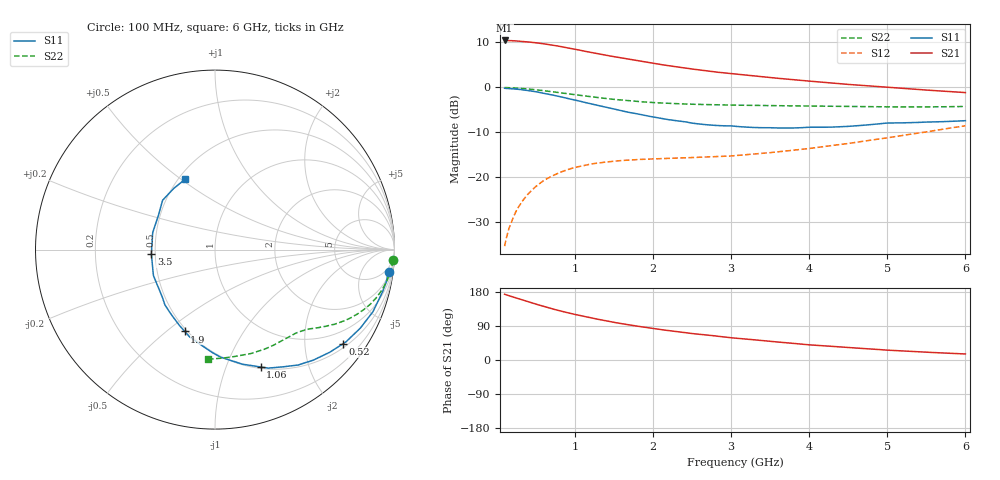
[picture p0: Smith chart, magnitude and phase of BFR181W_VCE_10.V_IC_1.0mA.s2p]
! Infineon Technologies  Discrete & RF Semiconductors
! BFR181W
! VCE =  10. V,  IC =  1.0 mA
! Common Emitter S-Parameters:  Nov 2015
# GHz  S  MA  R  50
!  f  S11  S21  S12  S22
! GHz  MAG  ANG  MAG  ANG  MAG  ANG  MAG  ANG
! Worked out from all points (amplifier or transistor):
!   192 points, 100 MHz to 6 GHz, reference 50 ohm
!   highest |S21| = 10.4 dB at 100 MHz (marker M1)
!   |S21| within 3 dB of that: start of sweep to 1.307 GHz
!   unconditionally stable (mu >= 1): 2.795 GHz to 3.979 GHz
!   at 440 MHz: K = 0.19, MSG = 16.5 dB, |S12| = -23.0 dB
!   at 1.7 GHz: K = 0.70, MSG = 11.2 dB, |S12| = -16.2 dB
!   at 6 GHz: K = 0.79, MSG = 3.7 dB, |S12| = -8.6 dB
!   S11 on the Smith chart (normalised r, x): 100 MHz: 3, -15; 520 MHz: 0.61, -2.93; 1.06 GHz: 0.52, -1.33; 1.9 GHz: 0.49, -0.58; 3.5 GHz: 0.48, -0.03; 6 GHz: 0.54, +0.52
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0.1  0.9747 -7.3  3.31 173.5  0.0172 84.7  0.9935 -3.5
0.155  0.9696 -11.2  3.298 169.7  0.0269 82.1  0.9897 -5.5
0.26  0.9507 -18.6  3.265 162.9  0.044 77.9  0.9785 -9.0
0.4  0.9203 -28.4  3.192 153.7  0.0652 72.2  0.9571 -13.6
0.52  0.8849 -36.4  3.103 146.3  0.0817 67.3  0.9338 -17.1
0.6  0.8579 -41.8  3.042 141.5  0.092 64.4  0.9169 -19.4
0.7  0.8249 -48.2  2.949 135.6  0.1028 61.1  0.8942 -21.9
0.8  0.7928 -54.2  2.855 130.1  0.1126 58.0  0.8714 -24.3
1  0.7238 -65.8  2.651 120.3  0.1287 52.6  0.8275 -28.4
1.06  0.7014 -68.8  2.582 117.7  0.1322 51.2  0.8149 -29.4
1.1  0.6876 -70.8  2.539 115.9  0.1345 50.3  0.8066 -30.1
1.22  0.6506 -77.4  2.424 110.4  0.1412 47.8  0.7827 -32.2
1.5  0.5732 -91.6  2.188 99.3  0.1509 43.5  0.7339 -36.0
1.66  0.533 -99.2  2.067 93.8  0.1548 42.2  0.7132 -37.7
1.9  0.4862 -110.3  1.908 86.2  0.1588 40.8  0.6856 -40.2
2.08  0.4543 -118.2  1.8 80.9  0.161 40.4  0.6709 -42.0
2.5  0.4 -136.2  1.595 69.8  0.1658 40.9  0.6479 -45.8
3.1  0.3657 -160.8  1.386 56.9  0.1756 45.3  0.6322 -52.3
3.5  0.3555 -176.2  1.283 49.1  0.188 48.8  0.6265 -57.2
4.1  0.3594 161.5  1.151 38.7  0.2146 53.4  0.6173 -65.1
5.1  0.4014 134.2  0.987 25.0  0.2834 57.6  0.6055 -79.8
6  0.4256 113.3  0.873 15.9  0.3734 56.4  0.6122 -93.7
